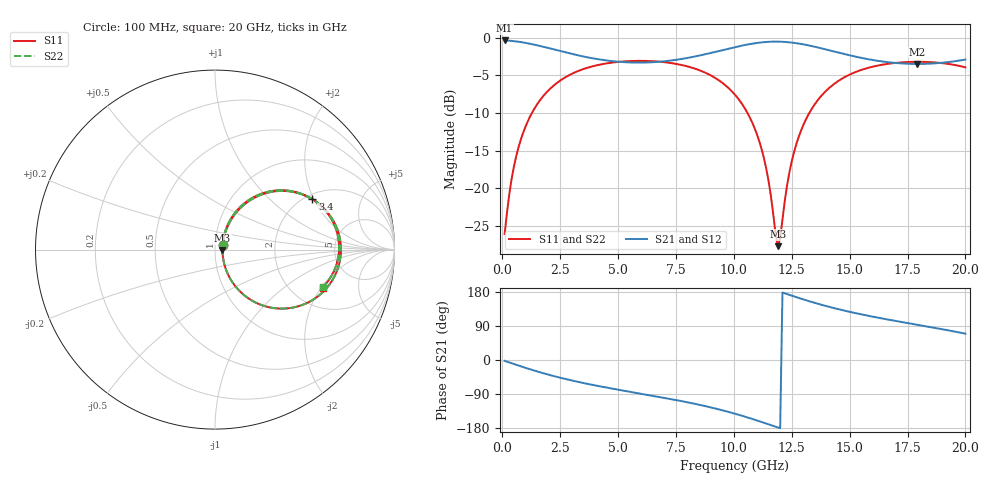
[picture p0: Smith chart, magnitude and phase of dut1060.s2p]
! Touchstone file exported from HFSS 2026.1.0
!  File:  C:/ffzhzh/LocalFiles/Ansys_Project_Files/temp_train_TSV_RDL_1060_1783298134_38704.aedt
!  Generated:  08:48:16 AM Jul  6, 2026
!  Design:  TSV_RDL
!  Project:  temp_train_TSV_RDL_1060_1783298134_38704
! Variables:
!  h_bsmrdl = 4.46um
!  h_ox = 20um
!  h_rdl = 5um
!  h_sub = 63.17um
!  h_tmrdl = 2.37um
!  h_tsv = 63.17um
!  h_via = 3um
!  l_bsmrdl = 895.76um
!  l_sub = 5225.3um
!  l_tmrdl = 516.13um
!  m_sub = 200um
!  pitch = 54.44um
!  r_tsv = 7.53um
!  s_tmrdl = 10um
!  w_bsmrdl = 11.58um
!  w_sub = 500um
!  w_tmrdl = 12.92um
!  x_tsv_center1 = 522.59um
!  x_tsv_center2 = 1429.93um
!  x_tsv_center3 = 1958.98um
!  x_tsv_center4 = 2866.32um
!  x_tsv_center5 = 3395.37um
!  x_tsv_center6 = 4302.71um
# GHz S MA R 50.000000
! Terminal data exported
! Port[1] = TM_RDL1_1_T1
! Port[2] = TM_RDL5_1_T1
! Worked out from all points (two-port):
!   200 points, 100 MHz to 20 GHz, reference 50 ohm
!   highest |S21| = -0.37 dB at 100 MHz (marker M1); lowest = -3.5 dB at 17.9 GHz (marker M2)
!   |S21| within 3 dB of the highest: start of sweep to 17.04 GHz; 18.83 GHz to end of sweep
!   lowest |S11| = -27.7 dB at 11.9 GHz (marker M3), VSWR 1.09, Z = 54.3 - j0.341 ohm
!   |S11| at or under -10 dB: start of sweep to 1.279 GHz; 10.59 GHz to 13.26 GHz (2.668 GHz wide, 22.4 % of centre)
!   |S22| runs from -27.7 to -3.1 dB; largest |S21 - S12| = 1.6e-14
!   S11 on the Smith chart (normalised r, x): 100 MHz: 1.09, +0.06; 3.4 GHz: 2.18, +1.95; 20 GHz: 2.91, -2.06
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0.1  0.04984 30.9  0.9578 -2.2  0.9578 -2.2  0.04984 30.9
! Gamma 0 0 0 0
! Port Impedance 50 0 50 0
0.5  0.1392 61.2  0.9478 -10.6  0.9478 -10.6  0.1392 61.2
1.1  0.2785 58.2  0.9171 -22.6  0.9171 -22.6  0.2785 58.2
2  0.448 45.8  0.8526 -38.8  0.8526 -38.8  0.448 45.8
3.4  0.611 27.3  0.7556 -59.4  0.7556 -59.4  0.611 27.3
3.5  0.6187 26.1  0.7499 -60.7  0.7499 -60.7  0.6187 26.1
5.1  0.6927 8.6  0.6905 -79.4  0.6905 -79.4  0.6927 8.6
6.8  0.6924 -8.7  0.6924 -97.7  0.6924 -97.7  0.6924 -8.7
8.8  0.5825 -31.5  0.7782 -122.2  0.7782 -122.2  0.5825 -31.5
10.1  0.4094 -49.5  0.8685 -142.6  0.8685 -142.6  0.4094 -49.5
10.7  0.2936 -57.9  0.9069 -153.7  0.9069 -153.7  0.2936 -57.9
11.2  0.182 -62.4  0.9301 -163.5  0.9301 -163.5  0.182 -62.4
11.5  0.112 -59.8  0.9382 -169.6  0.9382 -169.6  0.112 -59.8
11.9  0.04145 -4.3  0.941 -177.9  0.941 -177.9  0.04142 -4.3
12  0.04667 26.3  0.9402 -180.0  0.9402 -180.0  0.04665 26.3
12.3  0.1052 59.4  0.9343 173.8  0.9343 173.8  0.1052 59.5
12.6  0.1743 63.0  0.9235 167.7  0.9235 167.7  0.1743 63.0
13.4  0.3439 55.0  0.8769 152.5  0.8769 152.5  0.3439 55.0
14.8  0.5486 35.9  0.7766 129.9  0.7766 129.9  0.5486 35.9
16.7  0.672 14.3  0.6861 106.2  0.6861 106.2  0.672 14.3
17.9  0.6915 2.2  0.6694 93.2  0.6694 93.2  0.6915 2.2
20  0.6353 -19.4  0.7154 69.5  0.7154 69.5  0.6353 -19.4
